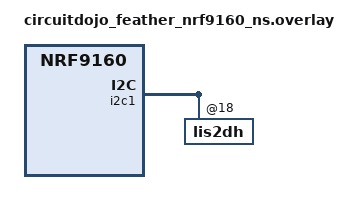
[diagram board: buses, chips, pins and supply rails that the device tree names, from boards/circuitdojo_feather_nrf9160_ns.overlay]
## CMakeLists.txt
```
#
# Copyright (c) 2019 Nordic Semiconductor
#
# SPDX-License-Identifier: LicenseRef-BSD-5-Clause-Nordic
#

cmake_minimum_required(VERSION 3.13.1)

find_package(Zephyr REQUIRED HINTS $ENV{ZEPHYR_BASE})
project(gps_socket_sample)

zephyr_library_sources(src/main.c)
zephyr_library_sources(src/battery.c)
zephyr_library_sources_ifdef(CONFIG_GNSS_SAMPLE_ASSISTANCE_NRF_CLOUD ${NRF_DIR}/samples/nrf9160/gnss/src/assistance.c)
zephyr_library_sources_ifdef(CONFIG_GNSS_SAMPLE_ASSISTANCE_SUPL ${NRF_DIR}/samples/nrf9160/gnss/src/assistance_supl.c)
zephyr_library_sources_ifdef(CONFIG_GNSS_SAMPLE_ASSISTANCE_MINIMAL ${NRF_DIR}/samples/nrf9160/gnss/src/assistance_minimal.c)
zephyr_library_sources_ifdef(CONFIG_GNSS_SAMPLE_ASSISTANCE_MINIMAL ${NRF_DIR}/samples/nrf9160/gnss/src/mcc_location_table.c)

zephyr_library_sources(src/startup.c)
```

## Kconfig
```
#
# Copyright (c) 2020 Nordic Semiconductor ASA
#
# SPDX-License-Identifier: LicenseRef-Nordic-5-Clause
#

config KRAKEN_TEMP_GPS_TEST
	bool "Temporary GNSS hardware test build"
	default n
	help
	  Disable cellular-dependent tracker features and use the temporary GPS targets.

menu "GNSS sample"

choice
	default GNSS_SAMPLE_MODE_CONTINUOUS
	prompt "Select GNSS operation mode"

config GNSS_SAMPLE_MODE_CONTINUOUS
	bool "Continuous tracking"

config GNSS_SAMPLE_MODE_PERIODIC
	bool "Periodic fixes"

config GNSS_SAMPLE_MODE_TTFF_TEST
	bool "Time-to-first-fix (TTFF) test mode"
	select GNSS_SAMPLE_NMEA_ONLY

endchoice

if GNSS_SAMPLE_MODE_PERIODIC

config GNSS_SAMPLE_PERIODIC_INTERVAL
	int "Fix interval for periodic fixes"
	range 10 65535
	default 120
	help
	  Fix interval (in seconds) for periodic fixes.

config GNSS_SAMPLE_PERIODIC_TIMEOUT
	int "Fix timeout for periodic fixes"
	range 0 65535
	default 120
	help
	  Fix timeout (in seconds) for periodic fixes.
	  If set to zero, GNSS is allowed to run indefinitely until a valid PVT estimate is produced.

endif # GNSS_SAMPLE_MODE_PERIODIC

if GNSS_SAMPLE_MODE_TTFF_TEST

config GNSS_SAMPLE_MODE_TTFF_TEST_COLD_START
	bool "Delete GNSS data before each start (cold start)"
	help
	  When enabled, deletes all stored data from GNSS to force a cold start every time GNSS is started.

config GNSS_SAMPLE_MODE_TTFF_TEST_INTERVAL
	int "Time to wait between TTFF tests in seconds"
	range 1 604800
	default 120

endif # GNSS_SAMPLE_MODE_TTFF_TEST

config GNSS_SAMPLE_NMEA_ONLY
	bool "Output only NMEA strings"
	help
	  Outputs only NMEA strings from the GNSS.

endmenu

choice
	default GNSS_SAMPLE_ASSISTANCE_NONE
	prompt "Select whether GNSS assistance is used or not"

config GNSS_SAMPLE_ASSISTANCE_NONE
	bool "Assistance not used"

config GNSS_SAMPLE_ASSISTANCE_NRF_CLOUD
	bool "Use nRF Cloud A-GPS or P-GPS"
	select NRF_CLOUD_REST
	imply NRF_CLOUD_AGPS
	select MODEM_JWT
	select MODEM_INFO
	select DATE_TIME

config GNSS_SAMPLE_ASSISTANCE_SUPL
	bool "Use SUPL A-GPS"
	select SUPL_CLIENT_LIB

config GNSS_SAMPLE_ASSISTANCE_MINIMAL
	bool "Use factory almanac, LTE network time and MCC based location"
	select GNSS_SAMPLE_LTE_ON_DEMAND
	select SETTINGS
	select FCB
	select FLASH
	select FLASH_MAP

endchoice

config GNSS_SAMPLE_STRICT_GNSS_ONLY
	bool "Force GNSS-only test mode"
	help
	  Disables LTE connect and A-GPS startup during bring-up so GNSS can be tested with the modem held in a non-LTE state.

if !GNSS_SAMPLE_ASSISTANCE_NONE

config GNSS_SAMPLE_LTE_ON_DEMAND
	bool "LTE is activated only when needed to fetch A-GPS data"
	depends on !NRF_CLOUD_PGPS
	help
	  Activates LTE only when it is needed to fetch A-GPS data. This is not supported when
	  P-GPS is enabled.

endif # !GNSS_SAMPLE_ASSISTANCE_NONE

if GNSS_SAMPLE_ASSISTANCE_SUPL

config GNSS_SAMPLE_SUPL_HOSTNAME
	string "SUPL server hostname"
	help
	  SUPL server hostname.

config GNSS_SAMPLE_SUPL_PORT
	int "SUPL server port number"
	range 0 65535
	default 7276
	help
	  SUPL server port number.

endif # GNSS_SAMPLE_ASSISTANCE_SUPL

if GNSS_SAMPLE_MODE_CONTINUOUS

choice
	default GNSS_SAMPLE_POWER_SAVING_DISABLED
	prompt "Select GNSS power saving mode (duty-cycling)"

config GNSS_SAMPLE_POWER_SAVING_DISABLED
	bool "No power saving"

config GNSS_SAMPLE_POWER_SAVING_MODERATE
	bool "Power saving without significant performance degradation"

config GNSS_SAMPLE_POWER_SAVING_HIGH
	bool "Power saving with acceptable performance degradation"

endchoice

endif # GNSS_SAMPLE_MODE_CONTINUOUS

config GNSS_SAMPLE_REFERENCE_LATITUDE
	string "Reference position latitude in decimal degrees"
	help
	  When set, the sample calculates the distance from the reference position for each fix.
	  Given in decimal degrees (DD), for example "61.500000".

config GNSS_SAMPLE_REFERENCE_LONGITUDE
	string "Reference position longitude in decimal degrees"
	help
	  When set, the sample calculates the distance from the reference position for each fix.
	  Given in decimal degrees (DD), for example "23.800000".

config GNSS_SAMPLE_LOW_ACCURACY
	bool "Allow low accuracy fixes"
	help
	  Allows fixes with lower accuracy.

if GNSS_SAMPLE_ASSISTANCE_MINIMAL && GNSS_SAMPLE_LOW_ACCURACY

config GNSS_SAMPLE_ASSISTANCE_REFERENCE_ALT
	int "Reference altitude for 3-sat first fix in meters"
	range -32767 32767
	default -32767
	help
	  Reference altitude for 3-sat first fix in meters above the reference ellipsoid surface.
	  The default value -32767 implies that reference altitude is not injected.

endif # GNSS_SAMPLE_ASSISTANCE_MINIMAL && GNSS_SAMPLE_LOW_ACCURACY

menu "Zephyr Kernel"
source "Kconfig.zephyr"
endmenu

module = GNSS_SAMPLE
module-str = GNSS sample
source "${ZEPHYR_BASE}/subsys/logging/Kconfig.template.log_config"
```

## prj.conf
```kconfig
#
# Copyright (c) 2019 Nordic Semiconductor ASA
#
# SPDX-License-Identifier: LicenseRef-Nordic-5-Clause
#

# General
CONFIG_FPU=y
CONFIG_NRF_MODEM_LIB=y
CONFIG_STDOUT_CONSOLE=n
CONFIG_UART_INTERRUPT_DRIVEN=y
CONFIG_NEWLIB_LIBC=y
CONFIG_NEWLIB_LIBC_FLOAT_PRINTF=y
CONFIG_LOG=n
CONFIG_PRINTK=n
CONFIG_EARLY_CONSOLE=n
CONFIG_BOOT_BANNER=n

# GNSS sample
# Enable minimal assistance to reduce cold-start TTFF
CONFIG_GNSS_SAMPLE_ASSISTANCE_MINIMAL=y
CONFIG_GNSS_SAMPLE_ASSISTANCE_NRF_CLOUD=n

# LTE Link Control
CONFIG_LTE_LINK_CONTROL=y
CONFIG_LTE_NETWORK_MODE_LTE_M_GPS=y

CONFIG_LTE_EDRX_REQ=n
CONFIG_LTE_PSM_REQ=n

# Request eDRX from the network
#CONFIG_LTE_EDRX_REQ=y
# PSM requested periodic TAU 8 hours
#CONFIG_LTE_PSM_REQ_RPTAU="00101000"
# PSM requested active time 6 seconds
#CONFIG_LTE_PSM_REQ_RAT="00000011"
# Auto-connect should be left off as we want the application to control LTE
CONFIG_LTE_AUTO_INIT_AND_CONNECT=n

# AT Host library - Used to send AT commands directy from an UART terminal and to allow
#		    integration with nRF Connect for Desktop LTE Link monitor application.
CONFIG_AT_HOST_LIBRARY=y

# Networking
CONFIG_NETWORKING=y
CONFIG_NET_SOCKETS_OFFLOAD=y
CONFIG_NET_SOCKETS=y
CONFIG_NET_SOCKETS_POSIX_NAMES=y
# Disable native network stack to save some memory
CONFIG_NET_NATIVE=n

# Memory and stack configuration
CONFIG_HEAP_MEM_POOL_SIZE=2048
#CONFIG_HEAP_MEM_POOL_SIZE=512
CONFIG_MAIN_STACK_SIZE=4096
CONFIG_SYSTEM_WORKQUEUE_STACK_SIZE=1536




CONFIG_CONSOLE=n
CONFIG_SERIAL=y
CONFIG_NET_LOG=n


CONFIG_HTTP_CLIENT=y
CONFIG_NET_SOCKETS=y


CONFIG_NRF_MODEM_LIB_HEAP_SIZE=4096



CONFIG_I2C=y





CONFIG_GNSS_SAMPLE_REFERENCE_LATITUDE="45.577284"
CONFIG_GNSS_SAMPLE_REFERENCE_LONGITUDE="-73.319296"
CONFIG_GNSS_SAMPLE_MODE_CONTINUOUS=y
CONFIG_GNSS_SAMPLE_ASSISTANCE_REFERENCE_ALT=0

#CONFIG_GNSS_SAMPLE_ASSISTANCE_MINIMAL=y











# nRF Cloud A-GPS
CONFIG_NRF_CLOUD_AGPS=y
CONFIG_NRF_CLOUD_REST=y
CONFIG_REST_CLIENT=y
CONFIG_CJSON_LIB=y
CONFIG_NET_SOCKETS=y
CONFIG_NET_SOCKETS_POSIX_NAMES=y
CONFIG_NRF_MODEM_LIB=y

# Cloud connection
CONFIG_MODEM_KEY_MGMT=y
CONFIG_LTE_LINK_CONTROL=y
CONFIG_LTE_AUTO_INIT_AND_CONNECT=n

# Networking
CONFIG_NETWORKING=y
CONFIG_NET_NATIVE=n
CONFIG_NET_IPV4=y
CONFIG_NET_IPV6=y





CONFIG_ADC=y



# Add the accelerometer
CONFIG_SENSOR=y
CONFIG_LIS2DH=y











# Enable flash
CONFIG_FLASH=y
CONFIG_FLASH_MAP=y
CONFIG_FLASH_PAGE_LAYOUT=y

# Enable bootloader
CONFIG_BOOTLOADER_MCUBOOT=y
CONFIG_MCUBOOT_IMAGE_VERSION="1.0.5+0"
CONFIG_IMG_MANAGER=y
CONFIG_STREAM_FLASH=y
CONFIG_MCUBOOT_IMG_MANAGER=y
CONFIG_IMG_ERASE_PROGRESSIVELY=y
CONFIG_DFU_TARGET=y
CONFIG_DOWNLOAD_CLIENT=y
CONFIG_DOWNLOAD_CLIENT_STACK_SIZE=4096
CONFIG_FOTA_DOWNLOAD=y
CONFIG_FOTA_DOWNLOAD_PROGRESS_EVT=y








CONFIG_LTE_NETWORK_TIMEOUT=60
```

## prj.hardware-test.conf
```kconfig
CONFIG_KRAKEN_TEMP_GPS_TEST=y
CONFIG_GNSS_SAMPLE_STRICT_GNSS_ONLY=y
CONFIG_GNSS_SAMPLE_ASSISTANCE_NONE=y
CONFIG_LTE_AUTO_INIT_AND_CONNECT=n
```

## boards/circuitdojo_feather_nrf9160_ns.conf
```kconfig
#
# Copyright (c) 2021 Circuit Dojo LLC
#
# SPDX-License-Identifier: Apache-2.0
#

# GPS Antenna configuration
CONFIG_MODEM_ANTENNA=y
CONFIG_MODEM_ANTENNA_GNSS_EXTERNAL=y
CONFIG_MODEM_ANTENNA_AT_COEX0="AT\%XCOEX0=1,1,1565,1586"

# Enable Zephyr application to be booted by MCUboot
CONFIG_BOOTLOADER_MCUBOOT=y
```

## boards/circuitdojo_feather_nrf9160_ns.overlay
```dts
/*
 * Use the single LIS2DH IRQ line on this board for any-motion wake.
 */

&i2c1 {
	lis2dh@18 {
		anym-on-int1;
	};
};
```

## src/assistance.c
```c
/*
 * Copyright (c) 2021 Nordic Semiconductor ASA
 *
 * SPDX-License-Identifier: LicenseRef-Nordic-5-Clause
 */

#include <stdlib.h>
#include <zephyr/kernel.h>
#include <zephyr/logging/log.h>
#include <modem/modem_info.h>
#include <modem/modem_jwt.h>
#include <net/nrf_cloud_rest.h>
#if defined(CONFIG_NRF_CLOUD_AGNSS)
#include <net/nrf_cloud_agnss.h>
#endif /* CONFIG_NRF_CLOUD_AGNSS */
#if defined(CONFIG_NRF_CLOUD_PGPS)
#include <net/nrf_cloud_pgps.h>
#endif /* CONFIG_NRF_CLOUD_PGPS */

#include "assistance.h"

LOG_MODULE_DECLARE(gnss_sample, CONFIG_GNSS_SAMPLE_LOG_LEVEL);

static char jwt_buf[600];
static char rx_buf[2048];

#if defined(CONFIG_NRF_CLOUD_AGNSS)
static char agnss_data_buf[NRF_CLOUD_AGNSS_MAX_DATA_SIZE];
#endif /* CONFIG_NRF_CLOUD_AGNSS */

#if defined(CONFIG_NRF_CLOUD_PGPS)
static struct nrf_modem_gnss_agnss_data_frame agnss_need;
static struct gps_pgps_request pgps_request;
static struct nrf_cloud_pgps_prediction *prediction;
static struct k_work get_pgps_data_work;
static struct k_work inject_pgps_data_work;
#endif /* CONFIG_NRF_CLOUD_PGPS */

static struct k_work_q *work_q;
static volatile bool assistance_active;

#if defined(CONFIG_NRF_CLOUD_AGNSS)
static int serving_cell_info_get(struct lte_lc_cell *serving_cell)
{
	int err;

	err = modem_info_init();
	if (err) {
		return err;
	}

	char resp_buf[MODEM_INFO_MAX_RESPONSE_SIZE];

	err = modem_info_string_get(MODEM_INFO_CELLID,
				    resp_buf,
				    MODEM_INFO_MAX_RESPONSE_SIZE);
	if (err < 0) {
		return err;
	}

	serving_cell->id = strtol(resp_buf, NULL, 16);

	err = modem_info_string_get(MODEM_INFO_AREA_CODE,
				    resp_buf,
				    MODEM_INFO_MAX_RESPONSE_SIZE);
	if (err < 0) {
		return err;
	}

	serving_cell->tac = strtol(resp_buf, NULL, 16);

	/* Request for MODEM_INFO_MNC returns both MNC and MCC in the same string. */
	err = modem_info_string_get(MODEM_INFO_OPERATOR,
				    resp_buf,
				    MODEM_INFO_MAX_RESPONSE_SIZE);
	if (err < 0) {
		return err;
	}

	serving_cell->mnc = strtol(&resp_buf[3], NULL, 10);
	/* Null-terminate MCC, read and store it. */
	resp_buf[3] = '\0';
	serving_cell->mcc = strtol(resp_buf, NULL, 10);

	return 0;
}
#endif /* CONFIG_NRF_CLOUD_AGNSS */

#if defined(CONFIG_NRF_CLOUD_PGPS)
static void get_pgps_data_work_fn(struct k_work *work)
{
	ARG_UNUSED(work);

	int err;

	assistance_active = true;

	LOG_INF("Sending request for P-GPS predictions to nRF Cloud...");

	err = nrf_cloud_jwt_generate(0, jwt_buf, sizeof(jwt_buf));
	if (err) {
		LOG_ERR("Failed to generate JWT, error: %d", err);

		goto exit;
	}

	struct nrf_cloud_rest_context rest_ctx = {
		.connect_socket = -1,
		.keep_alive = false,
		.timeout_ms = NRF_CLOUD_REST_TIMEOUT_NONE,
		.auth = jwt_buf,
		.rx_buf = rx_buf,
		.rx_buf_len = sizeof(rx_buf),
		.fragment_size = 0, /* Defaults to CONFIG_NRF_CLOUD_REST_FRAGMENT_SIZE when 0 */
		.status = 0,
		.response = NULL,
		.response_len = 0,
		.total_response_len = 0
	};

	struct nrf_cloud_rest_pgps_request request = {
		.pgps_req = &pgps_request
	};

	err = nrf_cloud_rest_pgps_data_get(&rest_ctx, &request);
	if (err) {
		LOG_ERR("Failed to send P-GPS request, error: %d", err);

		nrf_cloud_pgps_request_reset();

		goto exit;
	}

	LOG_INF("Processing P-GPS response");

	err = nrf_cloud_pgps_process(rest_ctx.response, rest_ctx.response_len);
	if (err) {
		LOG_ERR("Failed to process P-GPS response, error: %d", err);

		nrf_cloud_pgps_request_reset();

		goto exit;
	}

	LOG_INF("P-GPS response processed");

exit:
	assistance_active = false;
}

static void inject_pgps_data_work_fn(struct k_work *work)
{
	ARG_UNUSED(work);

	int err;

	assistance_active = true;

	LOG_INF("Injecting P-GPS ephemerides");

	err = nrf_cloud_pgps_inject(prediction, &agnss_need);
	if (err) {
		LOG_ERR("Failed to inject P-GPS ephemerides");
	}

	err = nrf_cloud_pgps_preemptive_updates();
	if (err) {
		LOG_ERR("Failed to request P-GPS updates");
	}

	assistance_active = false;
}

static void pgps_event_handler(struct nrf_cloud_pgps_event *event)
{
	switch (event->type) {
	case PGPS_EVT_AVAILABLE:
		prediction = event->prediction;

		k_work_submit_to_queue(work_q, &inject_pgps_data_work);
		break;

	case PGPS_EVT_REQUEST:
		memcpy(&pgps_request, event->request, sizeof(pgps_request));

		k_work_submit_to_queue(work_q, &get_pgps_data_work);
		break;

	case PGPS_EVT_LOADING:
		LOG_INF("Loading P-GPS predictions");
		assistance_active = true;
		break;

	case PGPS_EVT_READY:
		LOG_INF("P-GPS predictions ready");
		assistance_active = false;
		break;

	default:
		/* No action needed */
		break;
	}
}
#endif /* CONFIG_NRF_CLOUD_PGPS */

#if defined(CONFIG_NRF_CLOUD_AGNSS)
static const char *get_system_string(uint8_t system_id)
{
	switch (system_id) {
	case NRF_MODEM_GNSS_SYSTEM_INVALID:
		return "invalid";

	case NRF_MODEM_GNSS_SYSTEM_GPS:
		return "GPS";

	case NRF_MODEM_GNSS_SYSTEM_QZSS:
		return "QZSS";

	default:
		return "unknown";
	}
}
#endif /* CONFIG_NRF_CLOUD_AGNSS */

int assistance_init(struct k_work_q *assistance_work_q)
{
	work_q = assistance_work_q;

#if defined(CONFIG_NRF_CLOUD_PGPS)
	k_work_init(&get_pgps_data_work, get_pgps_data_work_fn);
	k_work_init(&inject_pgps_data_work, inject_pgps_data_work_fn);

	struct nrf_cloud_pgps_init_param pgps_param = {
		.event_handler = pgps_event_handler,
		/* storage is defined by CONFIG_NRF_CLOUD_PGPS_STORAGE */
		.storage_base = 0u,
		.storage_size = 0u
	};

	if (nrf_cloud_pgps_init(&pgps_param) != 0) {
		LOG_ERR("Failed to initialize P-GPS");
		return -1;
	}
#endif /* CONFIG_NRF_CLOUD_PGPS */

	return 0;
}

int assistance_request(struct nrf_modem_gnss_agnss_data_frame *agnss_request)
{
	int err = 0;

#if defined(CONFIG_NRF_CLOUD_PGPS)
	/* Store the A-GNSS data request for P-GPS use. */
	memcpy(&agnss_need, agnss_request, sizeof(agnss_need));

#if defined(CONFIG_NRF_CLOUD_AGNSS)
	if (!agnss_request->data_flags) {
		/* No assistance needed from A-GNSS, skip directly to P-GPS. */
		nrf_cloud_pgps_notify_prediction();
		return 0;
	}

	/* P-GPS will handle GPS ephemerides, so skip those. */
	agnss_request->system[0].sv_mask_ephe = 0;
	/* GPS almanacs are not needed with P-GPS, so skip those. */
	agnss_request->system[0].sv_mask_alm = 0;
#endif /* CONFIG_NRF_CLOUD_AGNSS */
#endif /* CONFIG_NRF_CLOUD_PGPS */
#if defined(CONFIG_NRF_CLOUD_AGNSS)
	assistance_active = true;

	err = nrf_cloud_jwt_generate(0, jwt_buf, sizeof(jwt_buf));
	if (err) {
		LOG_ERR("Failed to generate JWT, error: %d", err);
		goto agnss_exit;
	}

	struct nrf_cloud_rest_context rest_ctx = {
		.connect_socket = -1,
		.keep_alive = false,
		.timeout_ms = NRF_CLOUD_REST_TIMEOUT_NONE,
		.auth = jwt_buf,
		.rx_buf = rx_buf,
		.rx_buf_len = sizeof(rx_buf),
		.fragment_size = 0, /* Defaults to CONFIG_NRF_CLOUD_REST_FRAGMENT_SIZE when 0 */
		.status = 0,
		.response = NULL,
		.response_len = 0,
		.total_response_len = 0
	};

	struct nrf_cloud_rest_agnss_request request = {
		.type = NRF_CLOUD_REST_AGNSS_REQ_CUSTOM,
		.agnss_req = agnss_request,
		.net_info = NULL,
#if defined(CONFIG_NRF_CLOUD_AGNSS_FILTERED_RUNTIME)
		.filtered = true,
		/* Note: if you change the mask angle here, you may want to
		 * also change it to match in gnss_init_and_start() in main.c.
		 */
		.mask_angle = CONFIG_NRF_CLOUD_AGNSS_ELEVATION_MASK
		/* Note: if CONFIG_NRF_CLOUD_AGNSS_FILTERED is enabled but
		 * CONFIG_NRF_CLOUD_AGNSS_FILTERED_RUNTIME is not,
		 * the nrf_cloud_rest library will set the above fields to
		 * true and CONFIG_NRF_CLOUD_AGNSS_ELEVATION_MASK respectively.
		 * When CONFIG_NRF_CLOUD_AGNSS_FILTERED is disabled, it will
		 * set them to false and 0.
		 */
#endif
	};

	struct nrf_cloud_rest_agnss_result result = {
		.buf = agnss_data_buf,
		.buf_sz = sizeof(agnss_data_buf),
		.agnss_sz = 0
	};

	struct lte_lc_cells_info net_info = { 0 };

	err = serving_cell_info_get(&net_info.current_cell);
	if (err) {
		LOG_ERR("Could not get cell info, error: %d", err);
	} else {
		/* Network info for the location request. */
		request.net_info = &net_info;
	}

	LOG_INF("Requesting A-GNSS data: data_flags: 0x%02x", agnss_request->data_flags);
	for (int i = 0; i < agnss_request->system_count; i++) {
		LOG_INF("Requesting A-GNSS data: %s ephe: 0x%llx, alm: 0x%llx",
			get_system_string(agnss_request->system[i].system_id),
			agnss_request->system[i].sv_mask_ephe,
			agnss_request->system[i].sv_mask_alm);
	}

	err = nrf_cloud_rest_agnss_data_get(&rest_ctx, &request, &result);
	if (err) {
		LOG_ERR("Failed to get A-GNSS data, error: %d", err);
		goto agnss_exit;
	}

	LOG_INF("Processing A-GNSS data");

	err = nrf_cloud_agnss_process(result.buf, result.agnss_sz);
	if (err) {
		LOG_ERR("Failed to process A-GNSS data, error: %d", err);
		goto agnss_exit;
	}

	LOG_INF("A-GNSS data processed");

agnss_exit:
	assistance_active = false;
#endif /* CONFIG_NRF_CLOUD_AGNSS */

#if defined(CONFIG_NRF_CLOUD_PGPS)
	nrf_cloud_pgps_notify_prediction();
#endif /* CONFIG_NRF_CLOUD_PGPS */

	return err;
}

bool assistance_is_active(void)
{
	return assistance_active;
}
```

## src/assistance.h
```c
/*
 * Copyright (c) 2019 Nordic Semiconductor ASA
 *
 * SPDX-License-Identifier: LicenseRef-Nordic-5-Clause
 */

#ifndef ASSISTANCE_H_
#define ASSISTANCE_H_

#ifdef __cplusplus
extern "C" {
#endif

/**
 * @brief Initializes the assistance module.
 *
 * @param[in] assistance_work_q Work queue that can be used by the assistance module.
 *
 * @retval 0 on success.
 * @retval -1 in case of an error.
 */
int assistance_init(struct k_work_q *assistance_work_q);

/**
 * @brief Handles an assistance data request.
 *
 * @details Fetches and injects assistance data to the GNSS.
 *
 * @param[in] agps_request A-GPS data requested by GNSS.
 *
 * @retval 0 on success.
 * @retval <0 in case of an error.
 */
int assistance_request(struct nrf_modem_gnss_agps_data_frame *agps_request);

/**
 * @brief Returns assistance module state.
 *
 * @retval true if assistance module is downloading data.
 * @retval false if assistance module is idle.
 */
bool assistance_is_active(void);

#ifdef __cplusplus
}
#endif

#endif /* ASSISTANCE_H_ */
```

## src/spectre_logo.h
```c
#ifndef SPECTRE_LOGO_H
#define SPECTRE_LOGO_H

#include <stdint.h>

#define SPECTRE_LOGO_WIDTH 128
#define SPECTRE_LOGO_HEIGHT 64

static const uint8_t spectre_logo_128x64[SPECTRE_LOGO_WIDTH * (SPECTRE_LOGO_HEIGHT / 8)] = {
    0x00, 0x00, 0x00, 0x00, 0x00, 0x00, 0x00, 0x00, 0x00, 0x00, 0x00, 0x00, 0x00, 0x00, 0x00, 0x00, 
    0x00, 0x00, 0x00, 0x00, 0x00, 0x00, 0x00, 0x00, 0x00, 0x00, 0x00, 0x00, 0x00, 0x00, 0x00, 0x00, 
    0x00, 0x00, 0x00, 0x00, 0x00, 0x00, 0x00, 0x00, 0x00, 0x00, 0x00, 0x00, 0x00, 0x00, 0x00, 0x00, 
    0x00, 0x00, 0x00, 0x00, 0x00, 0x00, 0x00, 0x00, 0x00, 0x00, 0x00, 0x00, 0x00, 0x00, 0x00, 0x00, 
    0x00, 0x00, 0x00, 0x00, 0x00, 0x00, 0x00, 0x00, 0x00, 0x00, 0x00, 0x00, 0x00, 0x00, 0x00, 0x00, 
    0x00, 0x00, 0x00, 0x00, 0x00, 0x00, 0x00, 0x00, 0x00, 0x00, 0x00, 0x00, 0x00, 0x00, 0x00, 0x00, 
    0x00, 0x00, 0x00, 0x00, 0x00, 0x00, 0x00, 0x00, 0x00, 0x00, 0x00, 0x00, 0x00, 0x00, 0x00, 0x00, 
    0x00, 0x00, 0x00, 0x00, 0x00, 0x00, 0x00, 0x00, 0x00, 0x00, 0x00, 0x00, 0x00, 0x00, 0x00, 0x00, 
    0x00, 0x00, 0x00, 0x00, 0x00, 0x00, 0x00, 0x00, 0x00, 0x00, 0x00, 0x00, 0x00, 0x00, 0x00, 0x00, 
    0x00, 0x00, 0x00, 0x00, 0x00, 0x00, 0x00, 0x00, 0x00, 0x00, 0x00, 0x00, 0x00, 0x00, 0x00, 0x00, 
    0x00, 0x00, 0x00, 0x00, 0x00, 0x00, 0x00, 0x00, 0x00, 0x00, 0x00, 0x00, 0x00, 0x00, 0x00, 0x00, 
    0x00, 0x00, 0x00, 0x00, 0x00, 0x00, 0x00, 0x00, 0x00, 0x00, 0x00, 0x00, 0x00, 0x00, 0x00, 0x00, 
    0x00, 0x00, 0x00, 0x00, 0x00, 0x00, 0x00, 0x00, 0x00, 0x00, 0x00, 0x00, 0x00, 0x00, 0x00, 0x00, 
    0x00, 0x00, 0x00, 0x00, 0x00, 0x00, 0x00, 0x00, 0x00, 0x00, 0x00, 0x00, 0x00, 0x00, 0x00, 0x00, 
    0x00, 0x00, 0x00, 0x00, 0x00, 0x00, 0x00, 0x00, 0x00, 0x00, 0x00, 0x00, 0x00, 0x00, 0x00, 0x00, 
    0x00, 0x00, 0x00, 0x00, 0x00, 0x00, 0x00, 0x00, 0x00, 0x00, 0x00, 0x00, 0x00, 0x00, 0x00, 0x00, 
    0x00, 0x00, 0x00, 0x00, 0x00, 0x00, 0x00, 0x00, 0x00, 0x00, 0x00, 0x00, 0x00, 0x00, 0x00, 0x00, 
    0x00, 0x00, 0x00, 0x00, 0x00, 0x00, 0x00, 0x00, 0x00, 0x00, 0x00, 0x00, 0x00, 0x00, 0x00, 0x00, 
    0x00, 0x00, 0x00, 0x00, 0x00, 0x00, 0x00, 0x00, 0x00, 0x00, 0x00, 0x00, 0x00, 0x00, 0x00, 0x00, 
    0x00, 0x00, 0x00, 0x00, 0x00, 0x00, 0x00, 0x00, 0x00, 0x00, 0x00, 0x00, 0x00, 0x00, 0x00, 0x00, 
    0x00, 0x00, 0x00, 0x00, 0x00, 0x00, 0x00, 0x00, 0x00, 0x00, 0x00, 0x00, 0x00, 0x00, 0x00, 0x00, 
    0x00, 0x00, 0x00, 0x00, 0x00, 0x00, 0x00, 0x00, 0x00, 0x00, 0x00, 0x00, 0x00, 0x00, 0x00, 0x00, 
    0x00, 0x00, 0x00, 0x00, 0x00, 0x00, 0x00, 0x00, 0x00, 0x00, 0x00, 0x00, 0x00, 0x00, 0x00, 0x00, 
    0x00, 0x00, 0x00, 0x00, 0x00, 0x00, 0x00, 0x00, 0x00, 0x00, 0x00, 0x00, 0x00, 0x00, 0x00, 0x00, 
    0x00, 0x00, 0x00, 0x00, 0x00, 0x00, 0x00, 0x8C, 0x9F, 0xBF, 0xBB, 0x7B, 0xFB, 0xFF, 0xFF, 0xEF, 
    0xCF, 0x1E, 0x1E, 0x1C, 0x00, 0x00, 0x00, 0x00, 0xFF, 0xFF, 0xFF, 0x0F, 0x07, 0x07, 0x07, 0x07, 
    0x07, 0x8F, 0xFF, 0xFE, 0xF8, 0x70, 0x00, 0x00, 0xFC, 0xFE, 0xFF, 0xFF, 0x3B, 0x3B, 0x3B, 0xBF, 
    0xBF, 0xBF, 0x9F, 0x07, 0x07, 0x07, 0x00, 0x78, 0xFE, 0xFF, 0x83, 0x03, 0x03, 0x03, 0x87, 0x87, 
    0x87, 0x07, 0x07, 0x07, 0x0F, 0x1F, 0x1E, 0x1C, 0x00, 0x00, 0x03, 0x07, 0x07, 0x07, 0x07, 0x07, 
    0x0F, 0xFF, 0xFF, 0xFF, 0x07, 0x07, 0x07, 0x07, 0x07, 0x07, 0x00, 0x00, 0x00, 0xFF, 0xFF, 0xFF, 
    0x07, 0x07, 0x07, 0x07, 0x07, 0x87, 0x8F, 0xFF, 0xFE, 0xFC, 0x00, 0x00, 0x00, 0x00, 0xFC, 0xFF, 
    0xFF, 0xBF, 0x3B, 0x3B, 0x3B, 0xBF, 0xBF, 0x9F, 0x8F, 0x07, 0x07, 0x07, 0x00, 0x00, 0x00, 0x00, 
    0x00, 0x00, 0x00, 0x00, 0x00, 0x00, 0xE0, 0xE1, 0xE3, 0xC3, 0x87, 0x87, 0x07, 0x07, 0x07, 0x87, 
    0xCF, 0xFE, 0xFE, 0xFC, 0x00, 0x00, 0x00, 0x00, 0xFF, 0xFF, 0xFF, 0x1F, 0x06, 0x06, 0x06, 0x06, 
    0x07, 0x07, 0x07, 0x03, 0x01, 0x00, 0x00, 0x00, 0xFF, 0xFF, 0xFF, 0xFF, 0x87, 0x87, 0x87, 0x87, 
    0x87, 0x87, 0x87, 0x83, 0x80, 0x80, 0x00, 0x00, 0x03, 0x1F, 0x7F, 0xFF, 0xFF, 0xC7, 0xC7, 0x83, 
    0x01, 0x00, 0x80, 0x80, 0xC0, 0xC0, 0xE0, 0xF0, 0x20, 0x00, 0x00, 0x00, 0x00, 0x00, 0x00, 0x00, 
    0x00, 0xFF, 0xFF, 0xFF, 0x00, 0x00, 0x00, 0x00, 0x00, 0x00, 0x00, 0x00, 0x00, 0xFF, 0xFF, 0xFF, 
    0x07, 0x07, 0x07, 0x0F, 0x1F, 0x7F, 0xFF, 0xFF, 0xE3, 0xC1, 0x00, 0x00, 0x00, 0x00, 0x00, 0xFF, 
    0xFF, 0xFF, 0x87, 0x87, 0x87, 0x87, 0x87, 0x87, 0x87, 0x83, 0x80, 0x80, 0x00, 0x00, 0x00, 0x00, 
    0x00, 0x00, 0x00, 0x00, 0x00, 0x00, 0x00, 0x01, 0x03, 0x03, 0x03, 0x03, 0x03, 0x03, 0x03, 0x03, 
    0x03, 0x03, 0x03, 0x00, 0x00, 0x00, 0x00, 0x00, 0x03, 0x03, 0x03, 0x00, 0x00, 0x00, 0x00, 0x00, 
    0x00, 0x00, 0x00, 0x00, 0x00, 0x00, 0x00, 0x00, 0x03, 0x03, 0x03, 0x03, 0x03, 0x03, 0x03, 0x03, 
    0x03, 0x03, 0x03, 0x03, 0x03, 0x03, 0x00, 0x00, 0x00, 0x00, 0x00, 0x00, 0x03, 0x03, 0x03, 0x03, 
    0x03, 0x03, 0x03, 0x03, 0x03, 0x03, 0x01, 0x00, 0x00, 0x00, 0x00, 0x00, 0x00, 0x00, 0x00, 0x00, 
    0x00, 0x03, 0x03, 0x03, 0x00, 0x00, 0x00, 0x00, 0x00, 0x00, 0x00, 0x00, 0x00, 0x03, 0x03, 0x03, 
    0x00, 0x00, 0x00, 0x00, 0x00, 0x00, 0x00, 0x03, 0x03, 0x03, 0x03, 0x00, 0x00, 0x00, 0x00, 0x03, 
    0x03, 0x03, 0x03, 0x03, 0x03, 0x03, 0x03, 0x03, 0x03, 0x03, 0x03, 0x03, 0x00, 0x00, 0x00, 0x00, 
    0x00, 0x00, 0x00, 0x00, 0x00, 0x00, 0x00, 0x00, 0x00, 0x00, 0x00, 0x00, 0x00, 0x00, 0x00, 0x00, 
    0x00, 0x00, 0x00, 0x00, 0x00, 0x00, 0x00, 0x00, 0x00, 0x00, 0x00, 0x00, 0x00, 0x00, 0x00, 0x00, 
    0x00, 0x00, 0x00, 0x00, 0x00, 0x00, 0x00, 0x00, 0x00, 0x00, 0x00, 0x00, 0x00, 0x00, 0x00, 0x00, 
    0x00, 0x00, 0x00, 0x00, 0x00, 0x00, 0x00, 0x00, 0x00, 0x00, 0x00, 0x00, 0x00, 0x00, 0x00, 0x00, 
    0x00, 0x00, 0x00, 0x00, 0x00, 0x00, 0x00, 0x00, 0x00, 0x00, 0x00, 0x00, 0x00, 0x00, 0x00, 0x00, 
    0x00, 0x00, 0x00, 0x00, 0x00, 0x00, 0x00, 0x00, 0x00, 0x00, 0x00, 0x00, 0x00, 0x00, 0x00, 0x00, 
    0x00, 0x00, 0x00, 0x00, 0x00, 0x00, 0x00, 0x00, 0x00, 0x00, 0x00, 0x00, 0x00, 0x00, 0x00, 0x00, 
    0x00, 0x00, 0x00, 0x00, 0x00, 0x00, 0x00, 0x00, 0x00, 0x00, 0x00, 0x00, 0x00, 0x00, 0x00, 0x00, 
    0x00, 0x00, 0x00, 0x00, 0x00, 0x00, 0x00, 0x00, 0x00, 0x00, 0x00, 0x00, 0x00, 0x00, 0x00, 0x00, 
    0x00, 0x00, 0x00, 0x00, 0x00, 0x00, 0x00, 0x00, 0x00, 0x00, 0x00, 0x00, 0x00, 0x00, 0x00, 0x00, 
    0x00, 0x00, 0x00, 0x00, 0x00, 0x00, 0x00, 0x00, 0x00, 0x00, 0x00, 0x00, 0x00, 0x00, 0x00, 0x00, 
    0x00, 0x00, 0x00, 0x00, 0x00, 0x00, 0x00, 0x00, 0x00, 0x00, 0x00, 0x00, 0x00, 0x00, 0x00, 0x00, 
    0x00, 0x00, 0x00, 0x00, 0x00, 0x00, 0x00, 0x00, 0x00, 0x00, 0x00, 0x00, 0x00, 0x00, 0x00, 0x00, 
    0x00, 0x00, 0x00, 0x00, 0x00, 0x00, 0x00, 0x00, 0x00, 0x00, 0x00, 0x00, 0x00, 0x00, 0x00, 0x00, 
    0x00, 0x00, 0x00, 0x00, 0x00, 0x00, 0x00, 0x00, 0x00, 0x00, 0x00, 0x00, 0x00, 0x00, 0x00, 0x00, 
    0x00, 0x00, 0x00, 0x00, 0x00, 0x00, 0x00, 0x00, 0x00, 0x00, 0x00, 0x00, 0x00, 0x00, 0x00, 0x00
};

#endif /* SPECTRE_LOGO_H */
```
